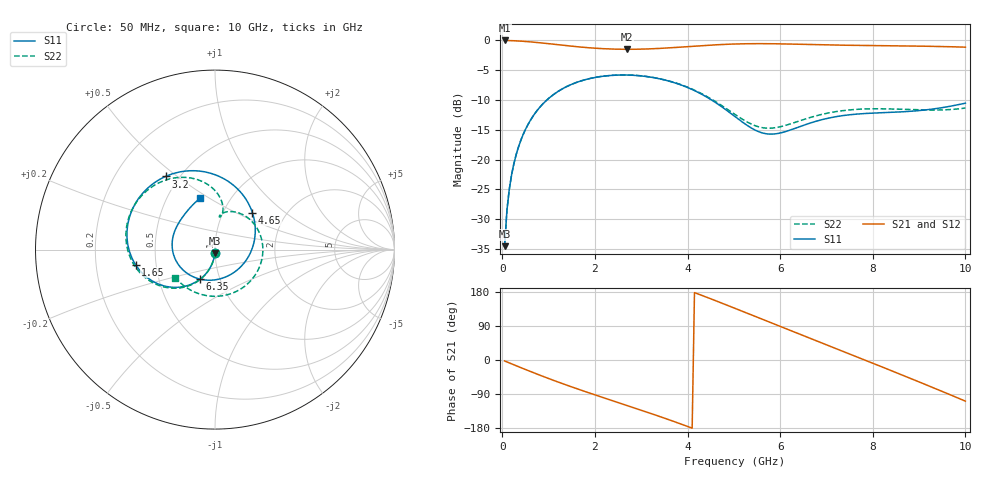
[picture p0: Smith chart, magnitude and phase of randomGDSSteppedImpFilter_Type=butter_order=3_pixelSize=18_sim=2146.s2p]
! freq	dB(S11)	phase(S11)	dB(S12)	phase(S12)
!  dB(S21)	phase(S21)	dB(S22)	phase(S22)
!S-par simulation data
#  GHz  S  DB  R 50
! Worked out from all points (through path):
!   200 points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, 50 MHz to 10 GHz, reference 50 ohm
!   highest |S21| = -0.01 dB at 50 MHz (marker M1); lowest = -1.5 dB at 2.7 GHz (marker M2)
!   group delay of S21, straight-line fit = 129 ps
!   lowest |S11| = -34.5 dB at 50 MHz (marker M3), VSWR 1.04, Z = 49.9 - j1.87 ohm
!   |S11| at or under -10 dB: start of sweep to 963.2 MHz; 4.518 GHz to end of sweep
!   |S22| runs from -34.5 to -5.8 dB; largest |S21 - S12| = 0
!   S11 on the Smith chart (normalised r, x): 50 MHz: 1.00, -0.04; 1.65 GHz: 0.38, -0.08; 3.2 GHz: 0.42, +0.45; 4.65 GHz: 1.37, +0.62; 6.35 GHz: 0.80, -0.27; 10 GHz: 0.73, +0.45
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0.05  -34.54 -92.7  -0.01 -2.6  -0.01 -2.6  -34.55 -92.6
0.1  -28.54 -95.4  -0.01 -5.1  -0.01 -5.1  -28.54 -95.3
0.2  -22.59 -100.7  -0.04 -10.1  -0.04 -10.1  -22.58 -100.5
0.45  -15.81 -113.4  -0.15 -22.6  -0.15 -22.6  -15.81 -112.9
1.05  -9.42 -142.5  -0.59 -51.2  -0.59 -51.2  -9.42 -141.1
1.65  -6.92 -169.3  -1.09 -77.5  -1.09 -77.5  -6.92 -166.8
1.75  -6.68 -173.6  -1.16 -81.7  -1.16 -81.7  -6.68 -170.9
2.7  -5.81 146.1  -1.49 -120.3  -1.49 -120.3  -5.80 152.3
3.2  -6.16 124.1  -1.41 -140.7  -1.41 -140.7  -6.14 133.7
3.4  -6.45 114.8  -1.34 -149.1  -1.34 -149.1  -6.43 126.3
4.05  -8.07 81.8  -1.02 -177.6  -1.02 -177.6  -8.01 103.2
4.65  -10.66 44.7  -0.72 154.4  -0.72 154.4  -10.49 85.5
5.05  -12.93 13.4  -0.59 135.1  -0.59 135.1  -12.56 79.1
5.7  -15.67 -53.8  -0.55 103.1  -0.55 103.1  -14.73 81.6
6.35  -14.68 -116.9  -0.63 71.3  -0.63 71.3  -13.68 78.3
6.7  -13.75 -141.2  -0.70 54.4  -0.70 54.4  -12.82 68.3
7.55  -12.44 177.1  -0.82 13.4  -0.82 13.4  -11.63 28.8
7.95  -12.22 162.6  -0.86 -6.1  -0.86 -6.1  -11.49 5.5
8.35  -12.09 150.1  -0.89 -25.6  -0.89 -25.6  -11.50 -20.2
9.2  -11.61 127.6  -0.98 -67.8  -0.98 -67.8  -11.69 -81.2
9.6  -11.16 117.3  -1.05 -88.0  -1.05 -88.0  -11.64 -112.4
10  -10.53 106.4  -1.13 -108.6  -1.13 -108.6  -11.35 -144.7
